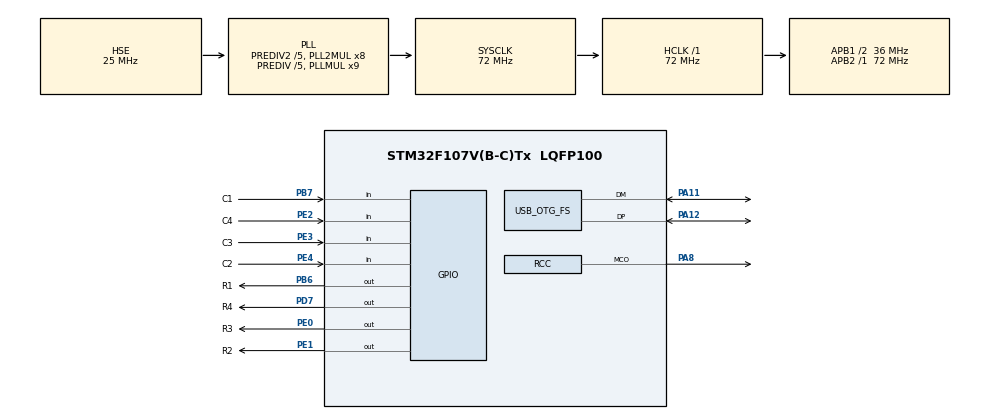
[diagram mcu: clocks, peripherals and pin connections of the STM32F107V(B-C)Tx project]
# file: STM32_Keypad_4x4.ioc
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Mcu.Family=STM32F1
Mcu.Name=STM32F107V(B-C)Tx
Mcu.Package=LQFP100
NVIC.OTG_FS_IRQn=true\:0\:0\:false\:false\:true\:false\:true\:true
NVIC.PriorityGroup=NVIC_PRIORITYGROUP_4
OSC_IN.Mode=HSE-External-Oscillator
OSC_IN.Signal=RCC_OSC_IN
OSC_OUT.Mode=HSE-External-Oscillator
OSC_OUT.Signal=RCC_OSC_OUT
PA11.Mode=Device_Only
PA11.Signal=USB_OTG_FS_DM
PA12.Mode=Device_Only
PA12.Signal=USB_OTG_FS_DP
PA13.Mode=Serial_Wire
PA13.Signal=SYS_JTMS-SWDIO
PA14.Mode=Serial_Wire
PA14.Signal=SYS_JTCK-SWCLK
PA8.GPIO_Speed=GPIO_SPEED_FREQ_MEDIUM
PA8.Mode=Clock-out
PA8.Signal=RCC_MCO
PB6.GPIO_Label=R1
PB6.Signal=GPIO_Output
PB7.GPIO_Label=C1
PB7.GPIO_PuPd=GPIO_PULLUP
PB7.Signal=GPIO_Input
PD7.GPIO_Label=R4
PD7.Signal=GPIO_Output
PE0.GPIO_Label=R3
PE0.Signal=GPIO_Output
PE1.GPIO_Label=R2
PE1.Signal=GPIO_Output
PE2.GPIO_Label=C4
PE2.GPIO_PuPd=GPIO_PULLUP
PE2.Signal=GPIO_Input
PE3.GPIO_Label=C3
PE3.GPIO_PuPd=GPIO_PULLUP
PE3.Signal=GPIO_Input
PE4.GPIO_Label=C2
PE4.GPIO_PuPd=GPIO_PULLUP
PE4.Signal=GPIO_Input
ProjectManager.HeapSize=0x200
ProjectManager.StackSize=0x400
ProjectManager.TargetToolchain=STM32CubeIDE
RCC.AHBFreq_Value=72000000
RCC.APB1CLKDivider=RCC_HCLK_DIV2
RCC.APB1Freq_Value=36000000
RCC.APB1TimFreq_Value=72000000
RCC.APB2Freq_Value=72000000
RCC.APB2TimFreq_Value=72000000
RCC.HCLKFreq_Value=72000000
RCC.HSEDivPLL=RCC_HSE_PREDIV_DIV5
RCC.HSE_VALUE=25000000
RCC.PLL3Mul=RCC_PLLI2S_MUL10
RCC.PLLMUL=RCC_PLL_MUL9
RCC.PLLSourceVirtual=RCC_PLLSOURCE_HSE
RCC.Prediv1Source=RCC_PREDIV1_SOURCE_PLL2
RCC.Prediv2=RCC_HSE_PREDIV2_DIV5
RCC.RCC_MCOSource=RCC_MCO1SOURCE_PLL3CLK
RCC.SYSCLKFreq_VALUE=72000000
RCC.SYSCLKSource=RCC_SYSCLKSOURCE_PLLCLK
RCC.USBFreq_Value=48000000
USB_DEVICE.CLASS_NAME_FS=CDC
USB_DEVICE.VirtualMode=Cdc
USB_DEVICE.VirtualModeFS=Cdc_FS
USB_OTG_FS.VirtualMode=Device_Only
VP_USB_DEVICE_VS_USB_DEVICE_CDC_FS.Mode=CDC_FS
board=custom

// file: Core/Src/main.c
/* USER CODE BEGIN Header */
/**
  ******************************************************************************
  * @file           : main.c
  * @brief          : Main program body
  ******************************************************************************
  * @attention
  *
  * Copyright (c) 2024 STMicroelectronics.
  * All rights reserved.
  *
  * This software is licensed under terms that can be found in the LICENSE file
  * in the root directory of this software component.
  * If no LICENSE file comes with this software, it is provided AS-IS.
  *
  ******************************************************************************
  */
/* USER CODE END Header */
#include "main.h"
#include "usb_device.h"

/* USER CODE BEGIN Includes */
#include "usbd_cdc_if.h"
/* USER CODE END Includes */

void SystemClock_Config(void);
static void MX_GPIO_Init(void);

/* USER CODE BEGIN 0 */

void read_keypad (void)
{
	/* Make ROW 1 LOW and all other ROWs HIGH */
	HAL_GPIO_WritePin (R1_GPIO_Port, R1_Pin, GPIO_PIN_RESET);  //Pull the R1 low
	HAL_GPIO_WritePin (R2_GPIO_Port, R2_Pin, GPIO_PIN_SET);  // Pull the R2 High
	HAL_GPIO_WritePin (R3_GPIO_Port, R3_Pin, GPIO_PIN_SET);  // Pull the R3 High
	HAL_GPIO_WritePin (R4_GPIO_Port, R4_Pin, GPIO_PIN_SET);  // Pull the R4 High

	if (!(HAL_GPIO_ReadPin (C1_GPIO_Port, C1_Pin)))   // if the Col 1 is low
	{
		while (!(HAL_GPIO_ReadPin (C1_GPIO_Port, C1_Pin)));   // wait till the button is pressed
		uint8_t *data = (uint8_t *)"Key: 1\n";
		CDC_Transmit_FS((uint8_t *)data, strlen((char *)data));
	}

	if (!(HAL_GPIO_ReadPin (C2_GPIO_Port, C2_Pin)))   // if the Col 2 is low
	{
		while (!(HAL_GPIO_ReadPin (C2_GPIO_Port, C2_Pin)));   // wait till the button is pressed
		uint8_t *data = (uint8_t *)"Key: 2\n";
		CDC_Transmit_FS((uint8_t *)data, strlen((char *)data));
	}

	if (!(HAL_GPIO_ReadPin (C3_GPIO_Port, C3_Pin)))   // if the Col 3 is low
	{
		while (!(HAL_GPIO_ReadPin (C3_GPIO_Port, C3_Pin)));   // wait till the button is pressed
		uint8_t *data = (uint8_t *)"Key: 3\n";
		CDC_Transmit_FS((uint8_t *)data, strlen((char *)data));
	}

	if (!(HAL_GPIO_ReadPin (C4_GPIO_Port, C4_Pin)))   // if the Col 4 is low
	{
		while (!(HAL_GPIO_ReadPin (C4_GPIO_Port, C4_Pin)));   // wait till the button is pressed
		uint8_t *data = (uint8_t *)"Key: A\n";
		CDC_Transmit_FS((uint8_t *)data, strlen((char *)data));
	}

	/* Make ROW 2 LOW and all other ROWs HIGH */
	HAL_GPIO_WritePin (R1_GPIO_Port, R1_Pin, GPIO_PIN_SET);  //Pull the R1 low
	HAL_GPIO_WritePin (R2_GPIO_Port, R2_Pin, GPIO_PIN_RESET);  // Pull the R2 High
	HAL_GPIO_WritePin (R3_GPIO_Port, R3_Pin, GPIO_PIN_SET);  // Pull the R3 High
	HAL_GPIO_WritePin (R4_GPIO_Port, R4_Pin, GPIO_PIN_SET);  // Pull the R4 High

	if (!(HAL_GPIO_ReadPin (C1_GPIO_Port, C1_Pin)))   // if the Col 1 is low
	{
		while (!(HAL_GPIO_ReadPin (C1_GPIO_Port, C1_Pin)));   // wait till the button is pressed
		uint8_t *data = (uint8_t *)"Key: 4\n";
		CDC_Transmit_FS((uint8_t *)data, strlen((char *)data));
	}

	if (!(HAL_GPIO_ReadPin (C2_GPIO_Port, C2_Pin)))   // if the Col 2 is low
	{
		while (!(HAL_GPIO_ReadPin (C2_GPIO_Port, C2_Pin)));   // wait till the button is pressed
		uint8_t *data = (uint8_t *)"Key: 5\n";
		CDC_Transmit_FS((uint8_t *)data, strlen((char *)data));
	}

	if (!(HAL_GPIO_ReadPin (C3_GPIO_Port, C3_Pin)))   // if the Col 3 is low
	{
		while (!(HAL_GPIO_ReadPin (C3_GPIO_Port, C3_Pin)));   // wait till the button is pressed
		uint8_t *data = (uint8_t *)"Key: 6\n";
		CDC_Transmit_FS((uint8_t *)data, strlen((char *)data));
	}

	if (!(HAL_GPIO_ReadPin (C4_GPIO_Port, C4_Pin)))   // if the Col 4 is low
	{
		while (!(HAL_GPIO_ReadPin (C4_GPIO_Port, C4_Pin)));   // wait till the button is pressed
		uint8_t *data = (uint8_t *)"Key: B\n";
		CDC_Transmit_FS((uint8_t *)data, strlen((char *)data));
	}

	/* Make ROW 3 LOW and all other ROWs HIGH */
	HAL_GPIO_WritePin (R1_GPIO_Port, R1_Pin, GPIO_PIN_SET);  //Pull the R1 low
	HAL_GPIO_WritePin (R2_GPIO_Port, R2_Pin, GPIO_PIN_SET);  // Pull the R2 High
	HAL_GPIO_WritePin (R3_GPIO_Port, R3_Pin, GPIO_PIN_RESET);  // Pull the R3 High
	HAL_GPIO_WritePin (R4_GPIO_Port, R4_Pin, GPIO_PIN_SET);  // Pull the R4 High

	if (!(HAL_GPIO_ReadPin (C1_GPIO_Port, C1_Pin)))   // if the Col 1 is low
	{
		while (!(HAL_GPIO_ReadPin (C1_GPIO_Port, C1_Pin)));   // wait till the button is pressed
		uint8_t *data = (uint8_t *)"Key: 7\n";
		CDC_Transmit_FS((uint8_t *)data, strlen((char *)data));
	}

	if (!(HAL_GPIO_ReadPin (C2_GPIO_Port, C2_Pin)))   // if the Col 2 is low
	{
		while (!(HAL_GPIO_ReadPin (C2_GPIO_Port, C2_Pin)));   // wait till the button is pressed
		uint8_t *data = (uint8_t *)"Key: 8\n";
		CDC_Transmit_FS((uint8_t *)data, strlen((char *)data));
	}

	if (!(HAL_GPIO_ReadPin (C3_GPIO_Port, C3_Pin)))   // if the Col 3 is low
	{
		while (!(HAL_GPIO_ReadPin (C3_GPIO_Port, C3_Pin)));   // wait till the button is pressed
		uint8_t *data = (uint8_t *)"Key: 9\n";
		CDC_Transmit_FS((uint8_t *)data, strlen((char *)data));
	}

	if (!(HAL_GPIO_ReadPin (C4_GPIO_Port, C4_Pin)))   // if the Col 4 is low
	{
		while (!(HAL_GPIO_ReadPin (C4_GPIO_Port, C4_Pin)));   // wait till the button is pressed
		uint8_t *data = (uint8_t *)"Key: C\n";
		CDC_Transmit_FS((uint8_t *)data, strlen((char *)data));
	}

	/* Make ROW 4 LOW and all other ROWs HIGH */
	HAL_GPIO_WritePin (R1_GPIO_Port, R1_Pin, GPIO_PIN_SET);  //Pull the R1 low
	HAL_GPIO_WritePin (R2_GPIO_Port, R2_Pin, GPIO_PIN_SET);  // Pull the R2 High
	HAL_GPIO_WritePin (R3_GPIO_Port, R3_Pin, GPIO_PIN_SET);  // Pull the R3 High
	HAL_GPIO_WritePin (R4_GPIO_Port, R4_Pin, GPIO_PIN_RESET);  // Pull the R4 High

	if (!(HAL_GPIO_ReadPin (C1_GPIO_Port, C1_Pin)))   // if the Col 1 is low
	{
		while (!(HAL_GPIO_ReadPin (C1_GPIO_Port, C1_Pin)));   // wait till the button is pressed
		uint8_t *data = (uint8_t *)"Key: *\n";
		CDC_Transmit_FS((uint8_t *)data, strlen((char *)data));
	}

	if (!(HAL_GPIO_ReadPin (C2_GPIO_Port, C2_Pin)))   // if the Col 2 is low
	{
		while (!(HAL_GPIO_ReadPin (C2_GPIO_Port, C2_Pin)));   // wait till the button is pressed
		uint8_t *data = (uint8_t *)"Key: 0\n";
		CDC_Transmit_FS((uint8_t *)data, strlen((char *)data));
	}

	if (!(HAL_GPIO_ReadPin (C3_GPIO_Port, C3_Pin)))   // if the Col 3 is low
	{
		while (!(HAL_GPIO_ReadPin (C3_GPIO_Port, C3_Pin)));   // wait till the button is pressed
		uint8_t *data = (uint8_t *)"Key: #\n";
		CDC_Transmit_FS((uint8_t *)data, strlen((char *)data));
	}

	if (!(HAL_GPIO_ReadPin (C4_GPIO_Port, C4_Pin)))   // if the Col 4 is low
	{
		while (!(HAL_GPIO_ReadPin (C4_GPIO_Port, C4_Pin)));   // wait till the button is pressed
		uint8_t *data = (uint8_t *)"Key: D\n";
		CDC_Transmit_FS((uint8_t *)data, strlen((char *)data));
	}

}

/* USER CODE END 0 */

int main(void)
{

  /* MCU Configuration--------------------------------------------------------*/

  /* Reset of all peripherals, Initializes the Flash interface and the Systick. */
  HAL_Init();

  /* Configure the system clock */
  SystemClock_Config();

  /* Initialize all configured peripherals */
  MX_GPIO_Init();
  MX_USB_DEVICE_Init();

  /* Infinite loop */
  /* USER CODE BEGIN WHILE */
  while (1)
  {
	  read_keypad ();
	  HAL_Delay(100);
    /* USER CODE END WHILE */

  }
}

void SystemClock_Config(void)
{
  RCC_OscInitTypeDef RCC_OscInitStruct = {0};
  RCC_ClkInitTypeDef RCC_ClkInitStruct = {0};
  RCC_PeriphCLKInitTypeDef PeriphClkInit = {0};

  /** Initializes the RCC Oscillators according to the specified parameters
  * in the RCC_OscInitTypeDef structure.
  */
  RCC_OscInitStruct.OscillatorType = RCC_OSCILLATORTYPE_HSE;
  RCC_OscInitStruct.HSEState = RCC_HSE_ON;
  RCC_OscInitStruct.HSEPredivValue = RCC_HSE_PREDIV_DIV5;
  RCC_OscInitStruct.HSIState = RCC_HSI_ON;
  RCC_OscInitStruct.Prediv1Source = RCC_PREDIV1_SOURCE_PLL2;
  RCC_OscInitStruct.PLL.PLLState = RCC_PLL_ON;
  RCC_OscInitStruct.PLL.PLLSource = RCC_PLLSOURCE_HSE;
  RCC_OscInitStruct.PLL.PLLMUL = RCC_PLL_MUL9;
  RCC_OscInitStruct.PLL2.PLL2State = RCC_PLL2_ON;
  RCC_OscInitStruct.PLL2.PLL2MUL = RCC_PLL2_MUL8;
  RCC_OscInitStruct.PLL2.HSEPrediv2Value = RCC_HSE_PREDIV2_DIV5;
  if (HAL_RCC_OscConfig(&RCC_OscInitStruct) != HAL_OK)
  {
    Error_Handler();
  }

  /** Initializes the CPU, AHB and APB buses clocks
  */
  RCC_ClkInitStruct.ClockType = RCC_CLOCKTYPE_HCLK|RCC_CLOCKTYPE_SYSCLK
                              |RCC_CLOCKTYPE_PCLK1|RCC_CLOCKTYPE_PCLK2;
  RCC_ClkInitStruct.SYSCLKSource = RCC_SYSCLKSOURCE_PLLCLK;
  RCC_ClkInitStruct.AHBCLKDivider = RCC_SYSCLK_DIV1;
  RCC_ClkInitStruct.APB1CLKDivider = RCC_HCLK_DIV2;
  RCC_ClkInitStruct.APB2CLKDivider = RCC_HCLK_DIV1;

  if (HAL_RCC_ClockConfig(&RCC_ClkInitStruct, FLASH_LATENCY_2) != HAL_OK)
  {
    Error_Handler();
  }
  PeriphClkInit.PeriphClockSelection = RCC_PERIPHCLK_USB;
  PeriphClkInit.UsbClockSelection = RCC_USBCLKSOURCE_PLL_DIV3;
  PeriphClkInit.PLLI2S.PLLI2SMUL = RCC_PLLI2S_MUL10;
  PeriphClkInit.PLLI2S.HSEPrediv2Value = RCC_HSE_PREDIV2_DIV5;
  if (HAL_RCCEx_PeriphCLKConfig(&PeriphClkInit) != HAL_OK)
  {
    Error_Handler();
  }
  HAL_RCC_MCOConfig(RCC_MCO, RCC_MCO1SOURCE_PLL3CLK, RCC_MCODIV_1);

  /** Configure the Systick interrupt time
  */
  __HAL_RCC_HSE_PREDIV2_CONFIG(RCC_HSE_PREDIV2_DIV5);

  /** Configure the Systick interrupt time
  */
  __HAL_RCC_PLLI2S_CONFIG(RCC_PLLI2S_MUL10);

  /** Configure the Systick interrupt time
  */
  __HAL_RCC_PLLI2S_ENABLE();
}

static void MX_GPIO_Init(void)
{
  GPIO_InitTypeDef GPIO_InitStruct = {0};

  /* GPIO Ports Clock Enable */
  __HAL_RCC_GPIOE_CLK_ENABLE();
  __HAL_RCC_GPIOA_CLK_ENABLE();
  __HAL_RCC_GPIOD_CLK_ENABLE();
  __HAL_RCC_GPIOB_CLK_ENABLE();

  /*Configure GPIO pin Output Level */
  HAL_GPIO_WritePin(R4_GPIO_Port, R4_Pin, GPIO_PIN_RESET);

  /*Configure GPIO pin Output Level */
  HAL_GPIO_WritePin(R1_GPIO_Port, R1_Pin, GPIO_PIN_RESET);

  /*Configure GPIO pin Output Level */
  HAL_GPIO_WritePin(GPIOE, R3_Pin|R2_Pin, GPIO_PIN_RESET);

  /*Configure GPIO pins : C4_Pin C3_Pin C2_Pin */
  GPIO_InitStruct.Pin = C4_Pin|C3_Pin|C2_Pin;
  GPIO_InitStruct.Mode = GPIO_MODE_INPUT;
  GPIO_InitStruct.Pull = GPIO_PULLUP;
  HAL_GPIO_Init(GPIOE, &GPIO_InitStruct);

  /*Configure GPIO pin : PA8 */
  GPIO_InitStruct.Pin = GPIO_PIN_8;
  GPIO_InitStruct.Mode = GPIO_MODE_AF_PP;
  GPIO_InitStruct.Speed = GPIO_SPEED_FREQ_MEDIUM;
  HAL_GPIO_Init(GPIOA, &GPIO_InitStruct);

  /*Configure GPIO pin : R4_Pin */
  GPIO_InitStruct.Pin = R4_Pin;
  GPIO_InitStruct.Mode = GPIO_MODE_OUTPUT_PP;
  GPIO_InitStruct.Pull = GPIO_NOPULL;
  GPIO_InitStruct.Speed = GPIO_SPEED_FREQ_LOW;
  HAL_GPIO_Init(R4_GPIO_Port, &GPIO_InitStruct);

  /*Configure GPIO pin : R1_Pin */
  GPIO_InitStruct.Pin = R1_Pin;
  GPIO_InitStruct.Mode = GPIO_MODE_OUTPUT_PP;
  GPIO_InitStruct.Pull = GPIO_NOPULL;
  GPIO_InitStruct.Speed = GPIO_SPEED_FREQ_LOW;
  HAL_GPIO_Init(R1_GPIO_Port, &GPIO_InitStruct);

  /*Configure GPIO pin : C1_Pin */
  GPIO_InitStruct.Pin = C1_Pin;
  GPIO_InitStruct.Mode = GPIO_MODE_INPUT;
  GPIO_InitStruct.Pull = GPIO_PULLUP;
  HAL_GPIO_Init(C1_GPIO_Port, &GPIO_InitStruct);

  /*Configure GPIO pins : R3_Pin R2_Pin */
  GPIO_InitStruct.Pin = R3_Pin|R2_Pin;
  GPIO_InitStruct.Mode = GPIO_MODE_OUTPUT_PP;
  GPIO_InitStruct.Pull = GPIO_NOPULL;
  GPIO_InitStruct.Speed = GPIO_SPEED_FREQ_LOW;
  HAL_GPIO_Init(GPIOE, &GPIO_InitStruct);

}

void Error_Handler(void)
{
  __disable_irq();
  while (1)
  {
  }
}
